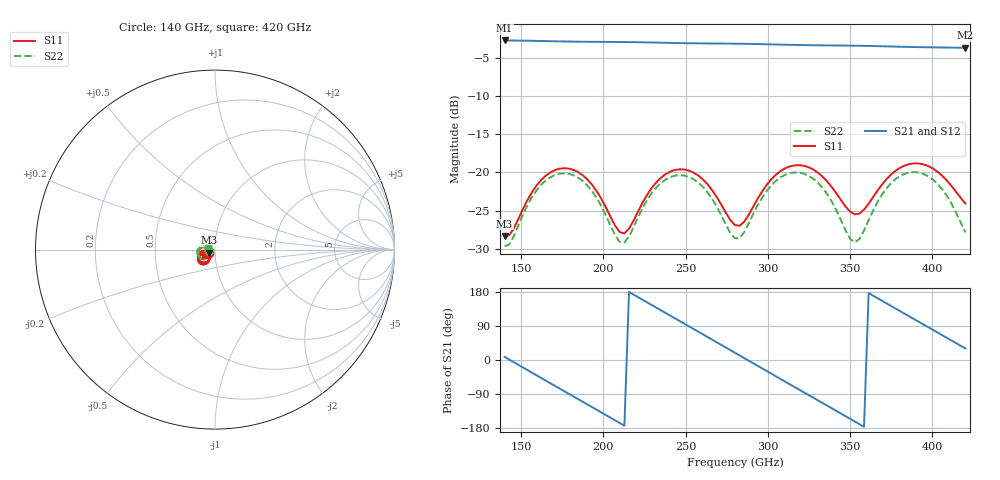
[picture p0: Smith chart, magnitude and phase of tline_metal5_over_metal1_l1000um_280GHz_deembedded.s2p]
! Created with skrf 2.0.1 (http://scikit-rf.org).
# GHz S DB R 50.0
!freq dBS11 angS11 dBS21 angS21 dBS12 angS12 dBS22 angS22
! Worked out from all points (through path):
!   101 points, 140 GHz to 420 GHz, reference 50 ohm
!   highest |S21| = -2.77 dB at 140 GHz (marker M1); lowest = -3.7 dB at 420 GHz (marker M2)
!   group delay of S21, straight-line fit = 6.92 ps
!   lowest |S11| = -28.3 dB at 140 GHz (marker M3), VSWR 1.08, Z = 46.7 - j1.65 ohm
!   |S11| at or under -10 dB: start of sweep to end of sweep
!   |S22| runs from -29.6 to -19.9 dB; largest |S21 - S12| = 1.3e-15
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140  -28.28 -152.7  -2.77 8.1  -2.77 8.1  -29.62 -161.8
151.2  -24.75 -120.0  -2.80 -19.9  -2.80 -19.9  -25.47 -128.7
165.2  -20.39 -130.5  -2.86 -54.9  -2.86 -54.9  -21.01 -142.1
176.4  -19.45 -147.8  -2.91 -82.7  -2.91 -82.7  -20.11 -161.2
187.6  -20.39 -164.9  -2.94 -110.5  -2.94 -110.5  -21.15 -179.7
201.6  -24.58 -174.3  -2.96 -145.4  -2.96 -145.4  -25.62 169.3
212.8  -27.95 -143.9  -2.98 -173.4  -2.98 -173.4  -29.14 -157.7
224  -23.88 -120.2  -3.02 158.6  -3.02 158.6  -24.58 -135.6
235.2  -20.65 -128.4  -3.06 130.6  -3.06 130.6  -21.34 -146.2
246.4  -19.59 -144.0  -3.11 102.7  -3.11 102.7  -20.35 -163.9
257.6  -20.39 -159.6  -3.15 74.9  -3.15 74.9  -21.30 178.7
280  -26.87 -149.5  -3.20 19.1  -3.20 19.1  -28.61 -170.0
299.6  -21.53 -119.2  -3.27 -30.0  -3.27 -30.0  -22.32 -141.7
313.6  -19.19 -135.0  -3.34 -64.8  -3.34 -64.8  -20.08 -161.4
327.6  -19.62 -153.5  -3.40 -99.6  -3.40 -99.6  -20.83 176.1
338.8  -21.91 -162.2  -3.42 -127.4  -3.42 -127.4  -23.80 164.1
352.8  -25.47 -143.3  -3.46 -162.3  -3.46 -162.3  -29.13 -167.7
364  -23.19 -120.6  -3.50 169.6  -3.50 169.6  -24.94 -139.1
375.2  -20.20 -123.2  -3.56 141.7  -3.56 141.7  -21.32 -147.5
386.4  -18.89 -135.7  -3.62 113.9  -3.62 113.9  -19.98 -164.7
397.6  -19.18 -149.4  -3.67 86.1  -3.67 86.1  -20.52 177.3
420  -24.05 -152.6  -3.73 30.4  -3.73 30.4  -27.83 171.0
